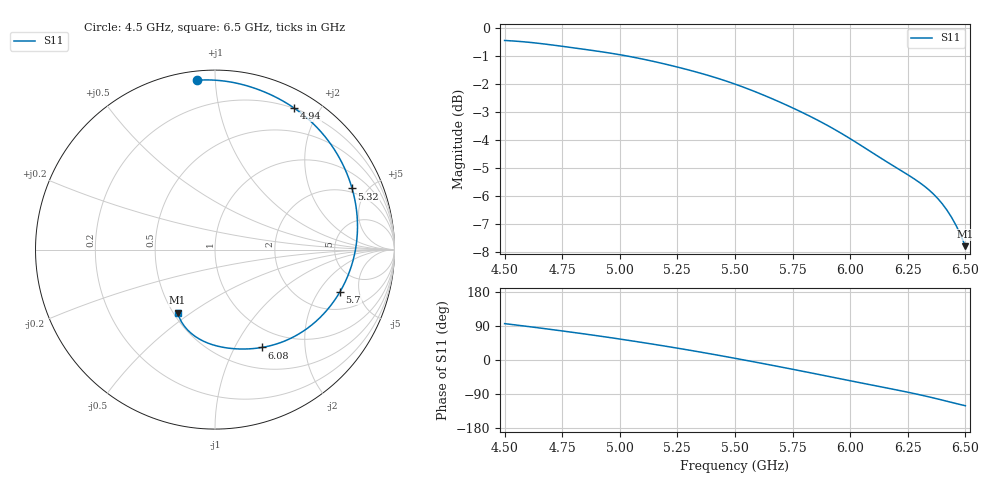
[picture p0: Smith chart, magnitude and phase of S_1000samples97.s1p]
! TOUCHSTONE file generated by CST MICROWAVE STUDIO
! Date and time: Wed Oct 26 23:52:58 2022
! Project name: L.cst
! Parameters = {Di=1.27; Epsilon_r=1.56; InnerDiameter=1.27; Length=2; Lf=10; Lg=60; OuterConductorThickness=0.2921; OuterDiameter=3.6; Wf=3; Wp=41.2; de=1.5; df=6.8; g=0.8; gx=4.26862; gy=4.45579; h=2.34; hf=1.524; px=13.4608; py=14.0145; w=9.7; wx=9.19222; wy=9.55873}
! Header version: 2018
! Port assignment regex: !\s*Touchstone port\s*([0-9]+)\s*=\s*(CST MWS port|CST DS port)\s*([0-9]+|Zmin|Zmax)\s*\(\"(.*)\"\)(\s*mode\s*([0-9]+))?.*
! Touchstone port assignment:
! Touchstone port 1 = CST MWS port 1 ("")
# GHz S DB R 50
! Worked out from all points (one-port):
!   101 points, 4.5 GHz to 6.5 GHz, reference 50 ohm
!   lowest |S11| = -7.8 dB at 6.5 GHz (marker M1), VSWR 2.38, Z = 26.3 - j22.2 ohm
!   |S11| at or under -10 dB: nowhere
!   S11 on the Smith chart (normalised r, x): 4.5 GHz: 0.05, +0.90; 4.94 GHz: 0.20, +1.69; 5.32 GHz: 1.75, +3.97; 5.7 GHz: 3.13, -3.19; 6.08 GHz: 0.75, -1.29; 6.5 GHz: 0.53, -0.44
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4.5  -0.45 96.0
4.62  -0.53 87.0
4.68  -0.59 82.3
4.76  -0.67 75.9
4.86  -0.79 67.6
4.94  -0.88 60.7
5  -0.96 55.3
5.06  -1.05 49.8
5.14  -1.19 42.1
5.2  -1.30 36.3
5.26  -1.42 30.2
5.32  -1.55 24.0
5.42  -1.79 13.3
5.5  -2.01 4.5
5.6  -2.32 -6.9
5.7  -2.67 -18.6
5.76  -2.90 -25.7
5.82  -3.13 -32.9
5.88  -3.39 -40.2
5.94  -3.66 -47.5
6  -3.96 -54.8
6.08  -4.37 -64.4
6.16  -4.79 -74.0
6.26  -5.29 -86.3
6.32  -5.63 -94.3
6.38  -6.09 -102.9
6.44  -6.76 -111.9
6.5  -7.79 -120.7
